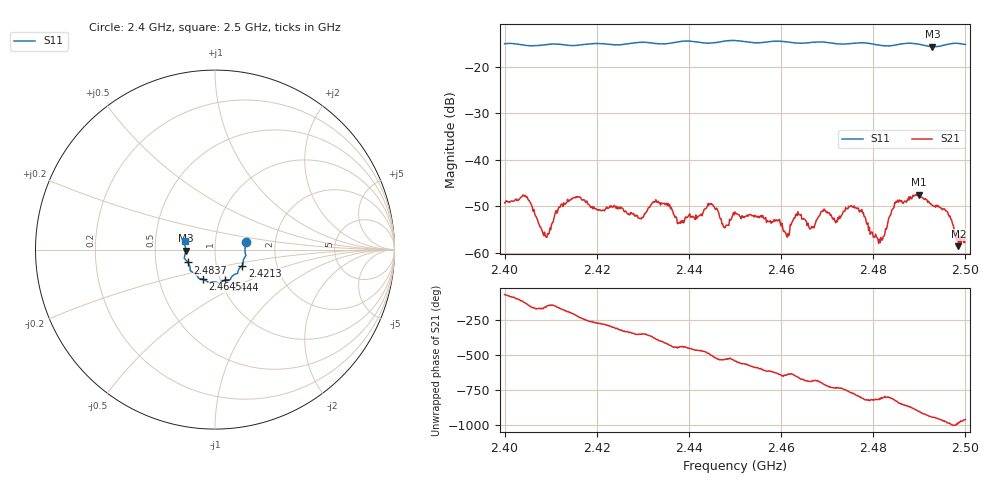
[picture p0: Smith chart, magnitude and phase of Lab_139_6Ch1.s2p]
# Hz S RI R
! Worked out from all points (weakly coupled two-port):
!   601 points, 2.4 GHz to 2.5 GHz, reference 50 ohm
!   highest |S21| = -47.48 dB at 2.4898 GHz (marker M1); lowest = -58.6 dB at 2.4985 GHz (marker M2)
!   lowest |S11| = -15.7 dB at 2.4928 GHz (marker M3), VSWR 1.39, Z = 36 - j0.377 ohm
!   |S11| at or under -10 dB: start of sweep to end of sweep
!   S12 and S22 are empty: the file has one direction only
!   S11 on the Smith chart (normalised r, x): 2.4 GHz: 1.41, +0.12; 2.4213 GHz: 1.33, -0.25; 2.444 GHz: 1.06, -0.37; 2.4645 GHz: 0.83, -0.29; 2.4837 GHz: 0.73, -0.11; 2.5 GHz: 0.71, +0.07
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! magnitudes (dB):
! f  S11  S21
! 2.4 GHz  -15.1  -49.3
! 2.4045 GHz  -15.4  -47.7
! 2.409 GHz  -15.3  -56.6
! 2.412 GHz  -15.2  -50.2
! 2.4167 GHz  -15.3  -48.5
! 2.4213 GHz  -15.1  -50.8
! 2.4333 GHz  -15.1  -48.9
! 2.438 GHz  -14.6  -53.4
! 2.444 GHz  -15.0  -50.0
! 2.4477 GHz  -14.5  -54.5
! 2.45 GHz  -14.4  -51.2
! 2.4613 GHz  -14.7  -56.6
! 2.4645 GHz  -15.0  -52.8
! 2.4667 GHz  -14.8  -54.3
! 2.4753 GHz  -15.0  -49.9
! 2.4815 GHz  -15.4  -57.8
! 2.4833 GHz  -15.6  -52.7
! 2.4837 GHz  -15.5  -52.0
! 2.4898 GHz  -15.2  -47.5
! 2.4928 GHz  -15.7  -49.8
! 2.4985 GHz  -15.0  -58.6
! 2.5 GHz  -15.3  -56.2
